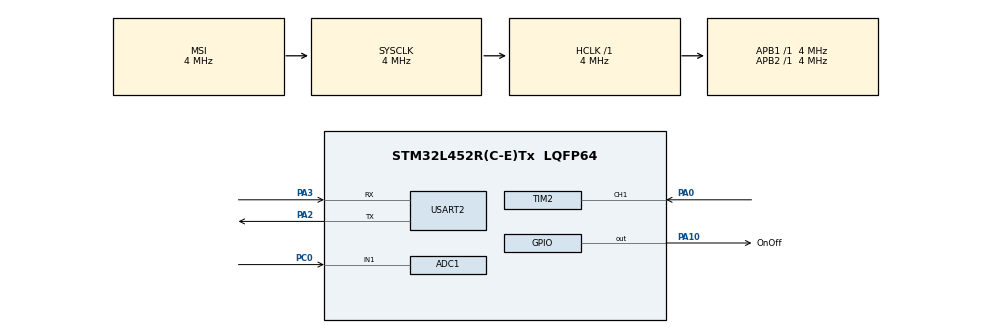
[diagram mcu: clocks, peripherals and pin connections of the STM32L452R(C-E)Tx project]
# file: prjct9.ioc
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ADC1.Channel-0\#ChannelRegularConversion=ADC_CHANNEL_1
ADC1.Channel-1\#ChannelRegularConversion=ADC_CHANNEL_1
ADC1.Channel-2\#ChannelRegularConversion=ADC_CHANNEL_1
ADC1.ContinuousConvMode=ENABLE
ADC1.NbrOfConversion=3
ADC1.NbrOfConversionFlag=1
ADC1.OffsetNumber-0\#ChannelRegularConversion=ADC_OFFSET_NONE
ADC1.OffsetNumber-1\#ChannelRegularConversion=ADC_OFFSET_NONE
ADC1.OffsetNumber-2\#ChannelRegularConversion=ADC_OFFSET_NONE
ADC1.Rank-0\#ChannelRegularConversion=1
ADC1.Rank-1\#ChannelRegularConversion=2
ADC1.Rank-2\#ChannelRegularConversion=3
ADC1.Resolution=ADC_RESOLUTION_8B
ADC1.SamplingTime-0\#ChannelRegularConversion=ADC_SAMPLETIME_640CYCLES_5
ADC1.SamplingTime-1\#ChannelRegularConversion=ADC_SAMPLETIME_640CYCLES_5
ADC1.SamplingTime-2\#ChannelRegularConversion=ADC_SAMPLETIME_640CYCLES_5
ADC1.master=1
Dma.ADC1.0.Direction=DMA_PERIPH_TO_MEMORY
Dma.ADC1.0.Instance=DMA1_Channel1
Dma.ADC1.0.MemDataAlignment=DMA_MDATAALIGN_HALFWORD
Dma.ADC1.0.MemInc=DMA_MINC_ENABLE
Dma.ADC1.0.Mode=DMA_NORMAL
Dma.ADC1.0.PeriphDataAlignment=DMA_PDATAALIGN_HALFWORD
Dma.ADC1.0.PeriphInc=DMA_PINC_DISABLE
Dma.ADC1.0.Priority=DMA_PRIORITY_LOW
Dma.Request0=ADC1
Mcu.Family=STM32L4
Mcu.Name=STM32L452R(C-E)Tx
Mcu.Package=LQFP64
NVIC.DMA1_Channel1_IRQn=true\:0\:0\:false\:false\:true\:false\:true\:true
NVIC.PriorityGroup=NVIC_PRIORITYGROUP_4
NVIC.TIM2_IRQn=true\:0\:0\:false\:false\:true\:true\:true\:true
PA0.Signal=S_TIM2_CH1
PA10.GPIO_Label=OnOff
PA10.Signal=GPIO_Output
PA2.Mode=Asynchronous
PA2.Signal=USART2_TX
PA3.Mode=Asynchronous
PA3.Signal=USART2_RX
PC0.Signal=ADCx_IN1
ProjectManager.HeapSize=0x200
ProjectManager.StackSize=0x400
ProjectManager.TargetToolchain=STM32CubeIDE
RCC.ADCFreq_Value=32000000
RCC.AHBFreq_Value=4000000
RCC.APB1Freq_Value=4000000
RCC.APB1TimFreq_Value=4000000
RCC.APB2Freq_Value=4000000
RCC.APB2TimFreq_Value=4000000
RCC.CortexFreq_Value=4000000
RCC.HCLKFreq_Value=4000000
RCC.HSE_VALUE=8000000
RCC.HSI48_VALUE=48000000
RCC.HSI_VALUE=16000000
RCC.LSE_VALUE=32768
RCC.MSI_VALUE=4000000
RCC.PLLSAI1N=16
RCC.SYSCLKFreq_VALUE=4000000
RCC.USBFreq_Value=32000000
RCC.VCOOutputFreq_Value=32000000
SH.ADCx_IN1.0=ADC1_IN1,IN1-Single-Ended
SH.S_TIM2_CH1.0=TIM2_CH1,Input_Capture1_from_TI1
TIM2.Channel-Input_Capture1_from_TI1=TIM_CHANNEL_1
USART2.VirtualMode-Asynchronous=VM_ASYNC
board=custom

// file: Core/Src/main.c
/* USER CODE BEGIN Header */
/**
 ******************************************************************************
 * @file           : main.c
 * @brief          : Main program body
 ******************************************************************************
 * @attention
 *
 * Copyright (c) 2023 STMicroelectronics.
 * All rights reserved.
 *
 * This software is licensed under terms that can be found in the LICENSE file
 * in the root directory of this software component.
 * If no LICENSE file comes with this software, it is provided AS-IS.
 *
 ******************************************************************************
 */
/* USER CODE END Header */
#include "main.h"
#include <stdio.h>
#include <stdlib.h>
#include <string.h>

ADC_HandleTypeDef hadc1;
DMA_HandleTypeDef hdma_adc1;

TIM_HandleTypeDef htim2;

UART_HandleTypeDef huart2;

void SystemClock_Config(void);
static void MX_GPIO_Init(void);
static void MX_DMA_Init(void);
static void MX_ADC1_Init(void);
static void MX_USART2_UART_Init(void);
static void MX_TIM2_Init(void);

/* USER CODE BEGIN 0 */
int buffer[1000];
char cBuff[100];
int adc_val;
int c = 0;
volatile uint32_t tempo = 0;

void HAL_TIM_PeriodElapsedCallback(TIM_HandleTypeDef *htim) {
	if (htim->Instance == TIM2){
		tempo++;
	}
}
void HAL_ADC_ConvCpltCallback(ADC_HandleTypeDef *hadc) {
	adc_val = buffer;
	c++;

}

/* USER CODE END 0 */

int main(void) {

	/* MCU Configuration--------------------------------------------------------*/

	/* Reset of all peripherals, Initializes the Flash interface and the Systick. */
	HAL_Init();

	/* Configure the system clock */
	SystemClock_Config();

	/* Initialize all configured peripherals */
	MX_GPIO_Init();
	MX_DMA_Init();
	MX_ADC1_Init();
	MX_USART2_UART_Init();
	MX_TIM2_Init();

	/* Infinite loop */
	/* USER CODE BEGIN WHILE */
	while (1) {
		while (tempo < 1) {
			HAL_TIM_Base_Start_IT(&htim2);

			HAL_GPIO_WritePin( GPIOA, OnOff_Pin, GPIO_PIN_SET);
			HAL_ADC_Start_DMA(&hadc1, &buffer, 1);
			HAL_GPIO_WritePin( GPIOA, OnOff_Pin, GPIO_PIN_RESET);
		}
		tempo = 0;

		itoa(c, cBuff, 10);
		HAL_UART_Transmit(&huart2, (uint8_t*) cBuff, strlen(cBuff),
		HAL_MAX_DELAY);
		c = 0;

		/* USER CODE END WHILE */

	}
}

void SystemClock_Config(void) {
	RCC_OscInitTypeDef RCC_OscInitStruct = { 0 };
	RCC_ClkInitTypeDef RCC_ClkInitStruct = { 0 };

	/** Configure the main internal regulator output voltage
	 */
	if (HAL_PWREx_ControlVoltageScaling(PWR_REGULATOR_VOLTAGE_SCALE1)
			!= HAL_OK) {
		Error_Handler();
	}

	/** Initializes the RCC Oscillators according to the specified parameters
	 * in the RCC_OscInitTypeDef structure.
	 */
	RCC_OscInitStruct.OscillatorType = RCC_OSCILLATORTYPE_MSI;
	RCC_OscInitStruct.MSIState = RCC_MSI_ON;
	RCC_OscInitStruct.MSICalibrationValue = 0;
	RCC_OscInitStruct.MSIClockRange = RCC_MSIRANGE_6;
	RCC_OscInitStruct.PLL.PLLState = RCC_PLL_NONE;
	if (HAL_RCC_OscConfig(&RCC_OscInitStruct) != HAL_OK) {
		Error_Handler();
	}

	/** Initializes the CPU, AHB and APB buses clocks
	 */
	RCC_ClkInitStruct.ClockType = RCC_CLOCKTYPE_HCLK | RCC_CLOCKTYPE_SYSCLK
			| RCC_CLOCKTYPE_PCLK1 | RCC_CLOCKTYPE_PCLK2;
	RCC_ClkInitStruct.SYSCLKSource = RCC_SYSCLKSOURCE_MSI;
	RCC_ClkInitStruct.AHBCLKDivider = RCC_SYSCLK_DIV1;
	RCC_ClkInitStruct.APB1CLKDivider = RCC_HCLK_DIV1;
	RCC_ClkInitStruct.APB2CLKDivider = RCC_HCLK_DIV1;

	if (HAL_RCC_ClockConfig(&RCC_ClkInitStruct, FLASH_LATENCY_0) != HAL_OK) {
		Error_Handler();
	}
}

static void MX_ADC1_Init(void) {

	ADC_ChannelConfTypeDef sConfig = { 0 };

	/** Common config
	 */
	hadc1.Instance = ADC1;
	hadc1.Init.ClockPrescaler = ADC_CLOCK_ASYNC_DIV1;
	hadc1.Init.Resolution = ADC_RESOLUTION_8B;
	hadc1.Init.DataAlign = ADC_DATAALIGN_RIGHT;
	hadc1.Init.ScanConvMode = ADC_SCAN_ENABLE;
	hadc1.Init.EOCSelection = ADC_EOC_SINGLE_CONV;
	hadc1.Init.LowPowerAutoWait = DISABLE;
	hadc1.Init.ContinuousConvMode = ENABLE;
	hadc1.Init.NbrOfConversion = 3;
	hadc1.Init.DiscontinuousConvMode = DISABLE;
	hadc1.Init.ExternalTrigConv = ADC_SOFTWARE_START;
	hadc1.Init.ExternalTrigConvEdge = ADC_EXTERNALTRIGCONVEDGE_NONE;
	hadc1.Init.DMAContinuousRequests = DISABLE;
	hadc1.Init.Overrun = ADC_OVR_DATA_PRESERVED;
	hadc1.Init.OversamplingMode = DISABLE;
	hadc1.Init.DFSDMConfig = ADC_DFSDM_MODE_ENABLE;
	if (HAL_ADC_Init(&hadc1) != HAL_OK) {
		Error_Handler();
	}

	/** Configure Regular Channel
	 */
	sConfig.Channel = ADC_CHANNEL_1;
	sConfig.Rank = ADC_REGULAR_RANK_1;
	sConfig.SamplingTime = ADC_SAMPLETIME_640CYCLES_5;
	sConfig.SingleDiff = ADC_SINGLE_ENDED;
	sConfig.OffsetNumber = ADC_OFFSET_NONE;
	sConfig.Offset = 0;
	if (HAL_ADC_ConfigChannel(&hadc1, &sConfig) != HAL_OK) {
		Error_Handler();
	}

	/** Configure Regular Channel
	 */

}

static void MX_TIM2_Init(void) {

	TIM_MasterConfigTypeDef sMasterConfig = { 0 };
	TIM_IC_InitTypeDef sConfigIC = { 0 };

	htim2.Instance = TIM2;
	htim2.Init.Prescaler = 4;
	htim2.Init.CounterMode = TIM_COUNTERMODE_UP;
	htim2.Init.Period = 1000000;
	htim2.Init.ClockDivision = TIM_CLOCKDIVISION_DIV1;
	htim2.Init.AutoReloadPreload = TIM_AUTORELOAD_PRELOAD_DISABLE;
	if (HAL_TIM_IC_Init(&htim2) != HAL_OK) {
		Error_Handler();
	}
	sMasterConfig.MasterOutputTrigger = TIM_TRGO_RESET;
	sMasterConfig.MasterSlaveMode = TIM_MASTERSLAVEMODE_DISABLE;
	if (HAL_TIMEx_MasterConfigSynchronization(&htim2, &sMasterConfig)
			!= HAL_OK) {
		Error_Handler();
	}
	sConfigIC.ICPolarity = TIM_INPUTCHANNELPOLARITY_RISING;
	sConfigIC.ICSelection = TIM_ICSELECTION_DIRECTTI;
	sConfigIC.ICPrescaler = TIM_ICPSC_DIV1;
	sConfigIC.ICFilter = 0;
	if (HAL_TIM_IC_ConfigChannel(&htim2, &sConfigIC, TIM_CHANNEL_1) != HAL_OK) {
		Error_Handler();
	}

}

static void MX_USART2_UART_Init(void) {

	huart2.Instance = USART2;
	huart2.Init.BaudRate = 115200;
	huart2.Init.WordLength = UART_WORDLENGTH_8B;
	huart2.Init.StopBits = UART_STOPBITS_1;
	huart2.Init.Parity = UART_PARITY_NONE;
	huart2.Init.Mode = UART_MODE_TX_RX;
	huart2.Init.HwFlowCtl = UART_HWCONTROL_NONE;
	huart2.Init.OverSampling = UART_OVERSAMPLING_16;
	huart2.Init.OneBitSampling = UART_ONE_BIT_SAMPLE_DISABLE;
	huart2.AdvancedInit.AdvFeatureInit = UART_ADVFEATURE_NO_INIT;
	if (HAL_UART_Init(&huart2) != HAL_OK) {
		Error_Handler();
	}

}

static void MX_DMA_Init(void) {

	/* DMA controller clock enable */
	__HAL_RCC_DMA1_CLK_ENABLE();

	/* DMA interrupt init */
	/* DMA1_Channel1_IRQn interrupt configuration */
	HAL_NVIC_SetPriority(DMA1_Channel1_IRQn, 0, 0);
	HAL_NVIC_EnableIRQ(DMA1_Channel1_IRQn);

}

static void MX_GPIO_Init(void) {
	GPIO_InitTypeDef GPIO_InitStruct = { 0 };

	/* GPIO Ports Clock Enable */
	__HAL_RCC_GPIOC_CLK_ENABLE();
	__HAL_RCC_GPIOA_CLK_ENABLE();

	/*Configure GPIO pin Output Level */
	HAL_GPIO_WritePin(OnOff_GPIO_Port, OnOff_Pin, GPIO_PIN_RESET);

	/*Configure GPIO pin : OnOff_Pin */
	GPIO_InitStruct.Pin = OnOff_Pin;
	GPIO_InitStruct.Mode = GPIO_MODE_OUTPUT_PP;
	GPIO_InitStruct.Pull = GPIO_NOPULL;
	GPIO_InitStruct.Speed = GPIO_SPEED_FREQ_LOW;
	HAL_GPIO_Init(OnOff_GPIO_Port, &GPIO_InitStruct);

}

void Error_Handler(void) {
	__disable_irq();
	while (1) {
	}
}
